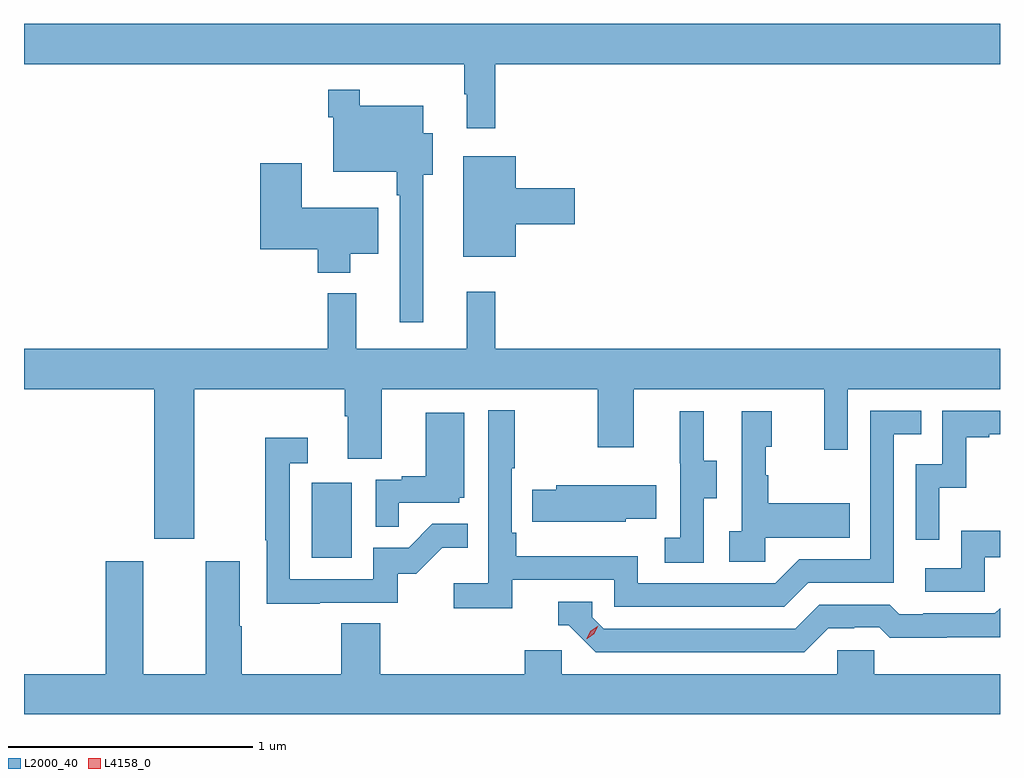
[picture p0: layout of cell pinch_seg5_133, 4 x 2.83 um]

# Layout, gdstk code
import gdstk
lib = gdstk.Library(unit=1e-6, precision=1e-09)
def R(c, l, rs):  # rectangles x0, y0, x1, y1
    for r in rs: c.add(gdstk.rectangle(r[:2], r[2:], *l))
def P(c, l, *ps):  # polygons
    for p in ps: c.add(gdstk.Polygon(p, *l))
L2000_40 = (2000, 40)
L4158_0 = (4158, 0)

pinch_seg5_133 = lib.new_cell('pinch_seg5_133')
R(pinch_seg5_133, L2000_40, [(1055.096,890.7,1055.26,891.007)])
P(pinch_seg5_133, L2000_40, [(1055.849,892.724),(1057.917,892.724),(1057.917,892.888),(1053.917,892.888),(1053.917,892.724),(1055.721,892.724),(1055.721,892.601),(1055.732,892.601),(1055.732,892.461),(1055.849,892.461)],
  [(1055.554,892.271),(1055.593,892.271),(1055.593,892.441),(1055.554,892.441),(1055.554,892.552),(1055.293,892.552),(1055.293,892.618),(1055.164,892.618),(1055.164,892.505),(1055.184,892.505),(1055.184,892.283),(1055.445,892.283),(1055.445,892.187),(1055.457,892.187),(1055.457,891.666),(1055.554,891.666)],
  [(1055.932,892.067),(1056.175,892.067),(1056.175,892.214),(1055.932,892.214),(1055.932,892.345),(1055.717,892.345),(1055.717,891.935),(1055.932,891.935)],
  [(1055.254,891.947),(1055.368,891.947),(1055.368,892.135),(1055.056,892.135),(1055.056,892.318),(1054.886,892.318),(1054.886,891.965),(1055.12,891.965),(1055.12,891.869),(1055.254,891.869)],
  [(1054.615,891.392),(1055.231,891.392),(1055.231,891.28),(1055.243,891.28),(1055.243,891.106),(1055.383,891.106),(1055.383,891.392),(1056.268,891.392),(1056.268,891.153),(1056.415,891.153),(1056.415,891.392),(1057.196,891.392),(1057.196,891.144),(1057.293,891.144),(1057.293,891.392),(1057.917,891.392),(1057.917,891.556),(1055.849,891.556),(1055.849,891.79),(1055.732,891.79),(1055.732,891.556),(1055.279,891.556),(1055.279,891.784),(1055.161,891.784),(1055.161,891.556),(1053.917,891.556),(1053.917,891.392),(1054.451,891.392),(1054.451,890.778),(1054.615,890.778)],
  [(1055.918,890.61),(1056.336,890.61),(1056.336,890.499),(1057.033,890.499),(1057.132,890.598),(1057.482,890.598),(1057.482,891.207),(1057.595,891.207),(1057.595,891.303),(1057.386,891.303),(1057.386,890.694),(1057.095,890.694),(1056.996,890.595),(1056.432,890.595),(1056.432,890.707),(1055.935,890.707),(1055.935,890.803),(1055.916,890.803),(1055.916,891.067),(1055.929,891.067),(1055.929,891.304),(1055.82,891.304),(1055.82,890.596),(1055.679,890.596),(1055.679,890.494),(1055.918,890.494)],
  [(1057.668,890.987),(1057.778,890.987),(1057.778,891.195),(1057.873,891.195),(1057.873,891.207),(1057.917,891.207),(1057.917,891.303),(1057.68,891.303),(1057.68,891.084),(1057.572,891.084),(1057.572,890.775),(1057.668,890.775)],
  [(1056.954,890.783),(1057.301,890.783),(1057.301,890.923),(1056.967,890.923),(1056.967,891.038),(1056.957,891.038),(1056.957,891.156),(1056.982,891.156),(1056.982,891.301),(1056.858,891.301),(1056.858,890.81),(1056.807,890.81),(1056.807,890.685),(1056.954,890.685)],
  [(1056.702,890.944),(1056.757,890.944),(1056.757,891.099),(1056.703,891.099),(1056.703,891.301),(1056.605,891.301),(1056.605,891.087),(1056.606,891.087),(1056.606,890.783),(1056.543,890.783),(1056.543,890.68),(1056.702,890.68)],
  [(1055.453,890.925),(1055.7,890.925),(1055.7,890.946),(1055.722,890.946),(1055.722,891.295),(1055.564,891.295),(1055.564,891.034),(1055.465,891.034),(1055.465,891.021),(1055.358,891.021),(1055.358,890.827),(1055.453,890.827)],
  [(1055.129,890.517),(1055.448,890.517),(1055.448,890.634),(1055.524,890.634),(1055.631,890.741),(1055.735,890.741),(1055.735,890.84),(1055.591,890.84),(1055.493,890.742),(1055.349,890.742),(1055.349,890.613),(1055.007,890.613),(1055.007,891.087),(1055.08,891.087),(1055.08,891.193),(1054.906,891.193),(1054.906,890.773),(1054.911,890.773),(1054.911,890.512),(1055.129,890.512)],
  [(1056.384,890.861),(1056.509,890.861),(1056.509,890.998),(1056.099,890.998),(1056.099,890.979),(1056.001,890.979),(1056.001,890.849),(1056.384,890.849)],
  [(1057.854,890.703),(1057.917,890.703),(1057.917,890.812),(1057.758,890.812),(1057.758,890.658),(1057.611,890.658),(1057.611,890.562),(1057.854,890.562)],
  [(1057.917,890.224),(1057.401,890.224),(1057.401,890.322),(1057.251,890.322),(1057.251,890.224),(1056.12,890.224),(1056.12,890.322),(1055.969,890.322),(1055.969,890.224),(1055.378,890.224),(1055.378,890.432),(1055.218,890.432),(1055.218,890.224),(1054.809,890.224),(1054.809,890.42),(1054.801,890.42),(1054.801,890.686),(1054.661,890.686),(1054.661,890.224),(1054.405,890.224),(1054.405,890.686),(1054.253,890.686),(1054.253,890.224),(1053.917,890.224),(1053.917,890.06),(1057.917,890.06)],
  [(1057.213,890.412),(1057.32,890.412),(1057.32,890.415),(1057.423,890.415),(1057.465,890.373),(1057.698,890.373),(1057.698,890.375),(1057.917,890.375),(1057.917,890.493),(1057.896,890.472),(1057.603,890.472),(1057.603,890.469),(1057.504,890.469),(1057.465,890.508),(1057.176,890.508),(1057.077,890.409),(1056.294,890.409),(1056.246,890.457),(1056.246,890.52),(1056.107,890.52),(1056.107,890.424),(1056.15,890.424),(1056.261,890.313),(1057.114,890.313)])
P(pinch_seg5_133, L4158_0, [(1056.224,890.369),(1056.224,890.37),(1056.24,890.402),(1056.27,890.422),(1056.271,890.422),(1056.271,890.422),(1056.255,890.389),(1056.225,890.369)])

lib.write_gds('pinch_seg5_133.gds')
